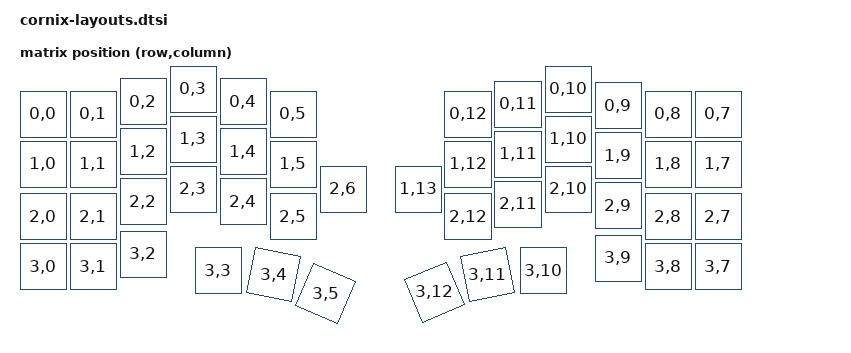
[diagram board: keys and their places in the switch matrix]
#include <physical_layouts.dtsi>
#include <dt-bindings/zmk/matrix_transform.h>

/ {
    default_transform: keymap_transform_50 {
        compatible = "zmk,matrix-transform";
        columns = <14>;
        rows = <4>;
// | SW1  | SW2  | SW3  | SW4  | SW5  | SW6  |             | SW6  | SW5  | SW4  | SW3  | SW2  | SW1  |
// | SW7  | SW8  | SW9  | SW10 | SW11 | SW12 |             | SW12 | SW11 | SW10 | SW9  | SW8  | SW7  |
// | SW13 | SW14 | SW15 | SW16 | SW17 | SW18 | SW19 | SW19 | SW18 | SW17 | SW16 | SW15 | SW14 | SW13 |
// | SW19 | SW20 | SW21 | SW22 | SW23 | SW24 |             | SW24 | SW23 | SW22 | SW21 | SW20 | SW19 |
        map = <
            RC(0,0) RC(0,1) RC(0,2) RC(0,3) RC(0,4) RC(0,5)                   RC(0,12)  RC(0,11) RC(0,10) RC(0,9) RC(0,8) RC(0,7)
            RC(1,0) RC(1,1) RC(1,2) RC(1,3) RC(1,4) RC(1,5)                   RC(1,12)  RC(1,11) RC(1,10) RC(1,9) RC(1,8) RC(1,7)
            RC(2,0) RC(2,1) RC(2,2) RC(2,3) RC(2,4) RC(2,5) RC(2, 6) RC(1,13) RC(2,12)  RC(2,11) RC(2,10) RC(2,9) RC(2,8) RC(2,7)
            RC(3,0) RC(3,1) RC(3,2) RC(3,3) RC(3,4) RC(3,5)                   RC(3,12)  RC(3,11) RC(3,10) RC(3,9) RC(3,8) RC(3,7)
        >;
    };

    layout_50: layout_50 {
        compatible = "zmk,physical-layout";
        display-name = "LAYOUT_50";

        transform = <&default_transform>;

        keys  //                     w   h    x    y     rot    rx    ry
            = <&key_physical_attrs 100 100    0   50       0     0     0>
            , <&key_physical_attrs 100 100  100   50       0     0     0>
            , <&key_physical_attrs 100 100  200   25       0     0     0>
            , <&key_physical_attrs 100 100  300    0       0     0     0>
            , <&key_physical_attrs 100 100  400   25       0     0     0>
            , <&key_physical_attrs 100 100  500   50       0     0     0>
            , <&key_physical_attrs 100 100  850   50       0     0     0>
            , <&key_physical_attrs 100 100  950   30       0     0     0>
            , <&key_physical_attrs 100 100 1050    0       0     0     0>
            , <&key_physical_attrs 100 100 1150   33       0     0     0>
            , <&key_physical_attrs 100 100 1250   50       0     0     0>
            , <&key_physical_attrs 100 100 1350   50       0     0     0>
            , <&key_physical_attrs 100 100    0  150       0     0     0>
            , <&key_physical_attrs 100 100  100  150       0     0     0>
            , <&key_physical_attrs 100 100  200  125       0     0     0>
            , <&key_physical_attrs 100 100  300  100       0     0     0>
            , <&key_physical_attrs 100 100  400  125       0     0     0>
            , <&key_physical_attrs 100 100  500  150       0     0     0>
            , <&key_physical_attrs 100 100  850  150       0     0     0>
            , <&key_physical_attrs 100 100  950  130       0     0     0>
            , <&key_physical_attrs 100 100 1050  100       0     0     0>
            , <&key_physical_attrs 100 100 1150  133       0     0     0>
            , <&key_physical_attrs 100 100 1250  150       0     0     0>
            , <&key_physical_attrs 100 100 1350  150       0     0     0>
            , <&key_physical_attrs 100 100    0  255       0     0     0>
            , <&key_physical_attrs 100 100  100  255       0     0     0>
            , <&key_physical_attrs 100 100  200  225       0     0     0>
            , <&key_physical_attrs 100 100  300  200       0     0     0>
            , <&key_physical_attrs 100 100  400  225       0     0     0>
            , <&key_physical_attrs 100 100  500  255       0     0     0>
            , <&key_physical_attrs 100 100  600  200       0     0     0>
            , <&key_physical_attrs 100 100  750  200       0     0     0>
            , <&key_physical_attrs 100 100  850  255       0     0     0>
            , <&key_physical_attrs 100 100  950  230       0     0     0>
            , <&key_physical_attrs 100 100 1050  200       0     0     0>
            , <&key_physical_attrs 100 100 1150  233       0     0     0>
            , <&key_physical_attrs 100 100 1250  255       0     0     0>
            , <&key_physical_attrs 100 100 1350  255       0     0     0>
            , <&key_physical_attrs 100 100    0  355       0     0     0>
            , <&key_physical_attrs 100 100  100  355       0     0     0>
            , <&key_physical_attrs 100 100  200  330       0     0     0>
            , <&key_physical_attrs 100 100  350  363       0     0     0>
            , <&key_physical_attrs 100 100  450  370    1193   500   475>
            , <&key_physical_attrs 100 100  550  365    2300   500   475>
            , <&key_physical_attrs 100 100  764  538 (-2300)   500   475>
            , <&key_physical_attrs 100 100  900  375 (-1193)   925   475>
            , <&key_physical_attrs 100 100 1000  363       0     0     0>
            , <&key_physical_attrs 100 100 1150  338       0     0     0>
            , <&key_physical_attrs 100 100 1250  355       0     0     0>
            , <&key_physical_attrs 100 100 1350  355       0     0     0>
            ;
    };

    position_map {
        compatible = "zmk,physical-layout-position-map";

        layout_50 {
            physical-layout = <&layout_50>;
            positions
                = < 0  1  2  3  4  5        6  7  8  9 10 11>
                , <12 13 14 15 16 17       18 19 20 21 22 23>
                , <24 25 26 27 28 29 30 31 32 33 34 35 36 37>
                , <38 39 40 41 42 43       44 45 46 47 48 49>
                ;
        };

    };
};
